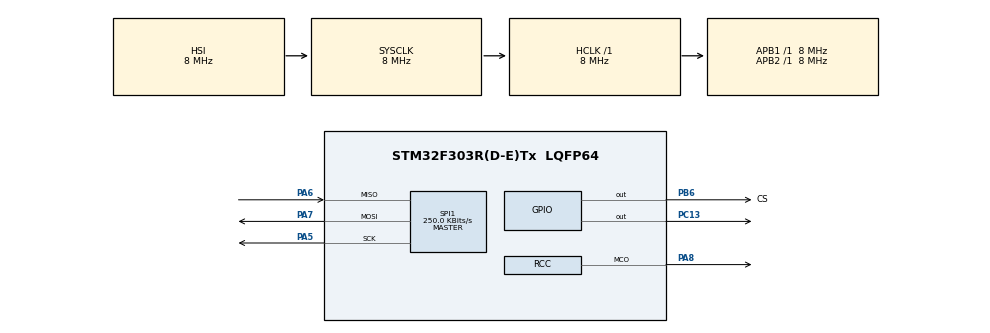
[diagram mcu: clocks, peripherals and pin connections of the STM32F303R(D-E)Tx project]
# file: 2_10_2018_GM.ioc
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Mcu.Family=STM32F3
Mcu.Name=STM32F303R(D-E)Tx
Mcu.Package=LQFP64
NVIC.PriorityGroup=NVIC_PRIORITYGROUP_4
NVIC.SPI1_IRQn=true\:0\:0\:false\:false\:true\:true
PA5.Mode=Full_Duplex_Master
PA5.Signal=SPI1_SCK
PA6.Mode=Full_Duplex_Master
PA6.Signal=SPI1_MISO
PA7.Mode=Full_Duplex_Master
PA7.Signal=SPI1_MOSI
PA8.Mode=Clock-out
PA8.Signal=RCC_MCO
PB6.GPIO_Label=CS
PB6.GPIO_Speed=GPIO_SPEED_FREQ_MEDIUM
PB6.PinState=GPIO_PIN_SET
PB6.Signal=GPIO_Output
PC13.Signal=GPIO_Output
PF0-OSC_IN.Mode=HSE-External-Oscillator
PF0-OSC_IN.Signal=RCC_OSC_IN
PF1-OSC_OUT.Mode=HSE-External-Oscillator
PF1-OSC_OUT.Signal=RCC_OSC_OUT
ProjectManager.HeapSize=0x200
ProjectManager.StackSize=0x400
ProjectManager.TargetToolchain=MDK-ARM V5
RCC.AHBFreq_Value=8000000
RCC.APB1Freq_Value=8000000
RCC.APB2Freq_Value=8000000
RCC.CortexFreq_Value=8000000
RCC.HSE_VALUE=8000000
RCC.HSI_VALUE=8000000
RCC.LSE_VALUE=32768
RCC.SYSCLKFreq_VALUE=8000000
RCC.USBFreq_Value=16000000
SPI1.BaudRatePrescaler=SPI_BAUDRATEPRESCALER_32
SPI1.CalculateBaudRate=250.0 KBits/s
SPI1.DataSize=SPI_DATASIZE_8BIT
SPI1.Direction=SPI_DIRECTION_2LINES
SPI1.Mode=SPI_MODE_MASTER
SPI1.NSSPMode=SPI_NSS_PULSE_DISABLE
SPI1.VirtualType=VM_MASTER
board=2_10_2018_TMTrial

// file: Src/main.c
/**
  ******************************************************************************
  * @file           : main.c
  * @brief          : Main program body
  ******************************************************************************
  ** This notice applies to any and all portions of this file
  * that are not between comment pairs USER CODE BEGIN and
  * USER CODE END. Other portions of this file, whether
  * inserted by the user or by software development tools
  * are owned by their respective copyright owners.
  *
  * COPYRIGHT(c) 2018 STMicroelectronics
  *
  * Redistribution and use in source and binary forms, with or without modification,
  * are permitted provided that the following conditions are met:
  *   1. Redistributions of source code must retain the above copyright notice,
  *      this list of conditions and the following disclaimer.
  *   2. Redistributions in binary form must reproduce the above copyright notice,
  *      this list of conditions and the following disclaimer in the documentation
  *      and/or other materials provided with the distribution.
  *   3. Neither the name of STMicroelectronics nor the names of its contributors
  *      may be used to endorse or promote products derived from this software
  *      without specific prior written permission.
  *
  * THIS SOFTWARE IS PROVIDED BY THE COPYRIGHT HOLDERS AND CONTRIBUTORS "AS IS"
  * AND ANY EXPRESS OR IMPLIED WARRANTIES, INCLUDING, BUT NOT LIMITED TO, THE
  * IMPLIED WARRANTIES OF MERCHANTABILITY AND FITNESS FOR A PARTICULAR PURPOSE ARE
  * DISCLAIMED. IN NO EVENT SHALL THE COPYRIGHT HOLDER OR CONTRIBUTORS BE LIABLE
  * FOR ANY DIRECT, INDIRECT, INCIDENTAL, SPECIAL, EXEMPLARY, OR CONSEQUENTIAL
  * DAMAGES (INCLUDING, BUT NOT LIMITED TO, PROCUREMENT OF SUBSTITUTE GOODS OR
  * SERVICES; LOSS OF USE, DATA, OR PROFITS; OR BUSINESS INTERRUPTION) HOWEVER
  * CAUSED AND ON ANY THEORY OF LIABILITY, WHETHER IN CONTRACT, STRICT LIABILITY,
  * OR TORT (INCLUDING NEGLIGENCE OR OTHERWISE) ARISING IN ANY WAY OUT OF THE USE
  * OF THIS SOFTWARE, EVEN IF ADVISED OF THE POSSIBILITY OF SUCH DAMAGE.
  *
  ******************************************************************************
  */
#include "main.h"
#include "stm32f3xx_hal.h"

/* USER CODE BEGIN Includes */
#include "mfrc522.h"
/* USER CODE END Includes */

SPI_HandleTypeDef hspi1;

/* USER CODE BEGIN PV */

typedef enum{
	MI_OK = 0,
	MI_NOTAGERR,
	MI_ERR} mfrc522_status_t;
/* Private variables ---------------------------------------------------------*/
//The below typedef would be used in a lot of places as status so defined as an enum00
int check1,check2,check3,check4,check5,check6,check7,check8,check9,check10 = 0;
uint8_t cardDetect=0;
/* USER CODE END PV */

void SystemClock_Config(void);
static void MX_GPIO_Init(void);
static void MX_SPI1_Init(void);

/* USER CODE BEGIN PFP */
/* Private function prototypes -----------------------------------------------*/
mfrc522_status_t mfrc522_AntiColl(uint8_t*);
void mfrc522_Halt(void);
void mfrc522_antennaOn(void);
void mfrc522_antennaOff(void);
void mfrc522_Init(void);
mfrc522_status_t mfrc522_check(uint8_t*);

/* USER CODE END PFP */

int main(void)
{

  /* MCU Configuration----------------------------------------------------------*/

  /* Reset of all peripherals, Initializes the Flash interface and the Systick. */
  HAL_Init();

  /* Configure the system clock */
  SystemClock_Config();

  /* Initialize all configured peripherals */
  MX_GPIO_Init();
  MX_SPI1_Init();
  /* USER CODE BEGIN 2 */
	check1=1;
	mfrc522_Init();
	check2=1;
	uint8_t ID[5];    //={0x45,0x26,0x51,0x20,0x00};
	//char buffer[50];

  /* USER CODE END 2 */

  /* Infinite loop */
  while (1)
  {

  /* USER CODE BEGIN 3 */

		check3=1;

	// Check if any card is detected
	if(mfrc522_check(ID) == MI_OK)
	{
		cardDetect = 1;
		//printf("0x0%02x\n0x0%02x\n0x0%02x\n0x0%02x\n0x0%02x",ID[0],ID[1],ID[2],ID[3],ID[4]);
	}
		else{
		cardDetect = 2;
		}

  }
  /* USER CODE END 3 */

}

void SystemClock_Config(void)
{

  RCC_OscInitTypeDef RCC_OscInitStruct;
  RCC_ClkInitTypeDef RCC_ClkInitStruct;

    /**Initializes the CPU, AHB and APB busses clocks
    */
  RCC_OscInitStruct.OscillatorType = RCC_OSCILLATORTYPE_HSI;
  RCC_OscInitStruct.HSIState = RCC_HSI_ON;
  RCC_OscInitStruct.HSICalibrationValue = 16;
  RCC_OscInitStruct.PLL.PLLState = RCC_PLL_NONE;
  if (HAL_RCC_OscConfig(&RCC_OscInitStruct) != HAL_OK)
  {
    _Error_Handler(__FILE__, __LINE__);
  }

    /**Initializes the CPU, AHB and APB busses clocks
    */
  RCC_ClkInitStruct.ClockType = RCC_CLOCKTYPE_HCLK|RCC_CLOCKTYPE_SYSCLK
                              |RCC_CLOCKTYPE_PCLK1|RCC_CLOCKTYPE_PCLK2;
  RCC_ClkInitStruct.SYSCLKSource = RCC_SYSCLKSOURCE_HSI;
  RCC_ClkInitStruct.AHBCLKDivider = RCC_SYSCLK_DIV1;
  RCC_ClkInitStruct.APB1CLKDivider = RCC_HCLK_DIV1;
  RCC_ClkInitStruct.APB2CLKDivider = RCC_HCLK_DIV1;

  if (HAL_RCC_ClockConfig(&RCC_ClkInitStruct, FLASH_LATENCY_0) != HAL_OK)
  {
    _Error_Handler(__FILE__, __LINE__);
  }

  HAL_RCC_MCOConfig(RCC_MCO, RCC_MCO1SOURCE_SYSCLK, RCC_MCODIV_1);

    /**Configure the Systick interrupt time
    */
  HAL_SYSTICK_Config(HAL_RCC_GetHCLKFreq()/1000);

    /**Configure the Systick
    */
  HAL_SYSTICK_CLKSourceConfig(SYSTICK_CLKSOURCE_HCLK);

  /* SysTick_IRQn interrupt configuration */
  HAL_NVIC_SetPriority(SysTick_IRQn, 0, 0);
}

/* SPI1 init function */
static void MX_SPI1_Init(void)
{

  /* SPI1 parameter configuration*/
  hspi1.Instance = SPI1;
  hspi1.Init.Mode = SPI_MODE_MASTER;
  hspi1.Init.Direction = SPI_DIRECTION_2LINES;
  hspi1.Init.DataSize = SPI_DATASIZE_8BIT;
  hspi1.Init.CLKPolarity = SPI_POLARITY_LOW;
  hspi1.Init.CLKPhase = SPI_PHASE_1EDGE;
  hspi1.Init.NSS = SPI_NSS_SOFT;
  hspi1.Init.BaudRatePrescaler = SPI_BAUDRATEPRESCALER_8;
  hspi1.Init.TIMode = SPI_TIMODE_DISABLE;
  hspi1.Init.CRCCalculation = SPI_CRCCALCULATION_DISABLE;
  hspi1.Init.CRCPolynomial = 7;
  hspi1.Init.CRCLength = SPI_CRC_LENGTH_DATASIZE;
  hspi1.Init.NSSPMode = SPI_NSS_PULSE_DISABLE;
  if (HAL_SPI_Init(&hspi1) != HAL_OK)
  {
    _Error_Handler(__FILE__, __LINE__);
  }

}

/** Configure pins as
        * Analog
        * Input
        * Output
        * EVENT_OUT
        * EXTI
     PA8   ------> RCC_MCO
*/
static void MX_GPIO_Init(void)
{

  GPIO_InitTypeDef GPIO_InitStruct;

  /* GPIO Ports Clock Enable */
  __HAL_RCC_GPIOC_CLK_ENABLE();
  __HAL_RCC_GPIOF_CLK_ENABLE();
  __HAL_RCC_GPIOA_CLK_ENABLE();
  __HAL_RCC_GPIOB_CLK_ENABLE();

  /*Configure GPIO pin Output Level */
  HAL_GPIO_WritePin(GPIOC, GPIO_PIN_13, GPIO_PIN_RESET);

  /*Configure GPIO pin Output Level */
  HAL_GPIO_WritePin(CS_GPIO_Port, CS_Pin, GPIO_PIN_SET);

  /*Configure GPIO pin : PC13 */
  GPIO_InitStruct.Pin = GPIO_PIN_13;
  GPIO_InitStruct.Mode = GPIO_MODE_OUTPUT_PP;
  GPIO_InitStruct.Pull = GPIO_NOPULL;
  GPIO_InitStruct.Speed = GPIO_SPEED_FREQ_LOW;
  HAL_GPIO_Init(GPIOC, &GPIO_InitStruct);

  /*Configure GPIO pin : PA8 */
  GPIO_InitStruct.Pin = GPIO_PIN_8;
  GPIO_InitStruct.Mode = GPIO_MODE_AF_PP;
  GPIO_InitStruct.Pull = GPIO_NOPULL;
  GPIO_InitStruct.Speed = GPIO_SPEED_FREQ_LOW;
  GPIO_InitStruct.Alternate = GPIO_AF0_TRACE;
  HAL_GPIO_Init(GPIOA, &GPIO_InitStruct);

  /*Configure GPIO pin : CS_Pin */
  GPIO_InitStruct.Pin = CS_Pin;
  GPIO_InitStruct.Mode = GPIO_MODE_OUTPUT_PP;
  GPIO_InitStruct.Pull = GPIO_NOPULL;
  GPIO_InitStruct.Speed = GPIO_SPEED_FREQ_MEDIUM;
  HAL_GPIO_Init(CS_GPIO_Port, &GPIO_InitStruct);

}

/* USER CODE BEGIN 4 */

void enableChip(void)
{
	HAL_GPIO_WritePin(GPIOB, GPIO_PIN_6, GPIO_PIN_RESET);
}

void disableChip(void)
{
	HAL_GPIO_WritePin(GPIOB, GPIO_PIN_6, GPIO_PIN_SET);
}

void mfrc522_writeRegister(uint8_t addr, uint8_t val)//checked
{
	check8=1;
	enableChip();
	uint8_t tobesent[2];
	tobesent[0]=(addr<<1) & 0x7E;
	tobesent[1] = val;
	HAL_SPI_Transmit(&hspi1, &tobesent[0], sizeof(tobesent[0]), 100);
	HAL_SPI_Transmit(&hspi1, &tobesent[1], sizeof(tobesent[1]),100);

	disableChip();
}

uint8_t mfrc522_readRegister(uint8_t addr)
{
	uint8_t val;
	addr=((addr<<1)&0x7E) | 0x80;
	enableChip();
	HAL_SPI_Transmit(&hspi1,&addr,sizeof(addr),50);
	HAL_SPI_Receive(&hspi1,&val,sizeof(val),50);
	disableChip();
	return val;
}

void mfrc522_SetBitMask(uint8_t reg, uint8_t mask)//checked
{
	mfrc522_writeRegister(reg,mfrc522_readRegister(reg)|mask);

}

void mfrc522_ClearBitMask(uint8_t reg, uint8_t mask) //checked
{
	mfrc522_writeRegister(reg,mfrc522_readRegister(reg)&~mask);
}

void mfrc522_antennaOn(void)//checked
{
	uint8_t temp;
	temp = mfrc522_readRegister(TxControlReg);

	if(!(temp & 0x03))
	{
		mfrc522_SetBitMask(TxControlReg,0x03);
	}
check9=1;
}

void mfrc522_antennaOff(void) //checked
{
	mfrc522_ClearBitMask(TxControlReg,0x03);
}

void mfrc522_reset(void) //checked
{
	mfrc522_writeRegister(CommandReg,SoftReset_CMD);
}

void mfrc522_Init(void)//checked
{
	check5=1;
	mfrc522_reset();
	check6=1;
	mfrc522_writeRegister(TModeReg,0x8D);
	mfrc522_writeRegister(TPrescalerReg,0x3E);
	mfrc522_writeRegister(TReloadReg_2,30);
	mfrc522_writeRegister(TReloadReg_1,0);
	check7=1;
	/* 48dB gain */

	mfrc522_writeRegister(RFCfgReg,0x70);

	mfrc522_writeRegister(TxASKReg,0x40);
	mfrc522_writeRegister(ModeReg, 0x3D);

	mfrc522_antennaOn();
}

mfrc522_status_t mfrc522_toCard(uint8_t command, uint8_t* sendData, uint8_t sendLen, uint8_t* backData, uint16_t* backLen)//checked
{
	mfrc522_status_t status = MI_ERR;
	uint8_t irqEn = 0x00;
	uint8_t waitIRq = 0x00;
	uint8_t lastBits;
	uint8_t n;
	uint16_t i;

	switch(command){
		case(MFAuthent_CMD):
		{
			irqEn = 0x12;
			waitIRq = 0x10;
			break;
		}
		case(Transceive_CMD):
		{
			irqEn = 0x77;
			waitIRq = 0x30;
			break;
		}
		default:
			break;
	}

	mfrc522_writeRegister(ComIEnReg,irqEn | 0x80);
	mfrc522_ClearBitMask(ComIrqReg,0x80);
	mfrc522_SetBitMask(FIFOLevelReg,0x80);

	mfrc522_writeRegister(CommandReg,Idle_CMD);

	//Writing data to the FIFO
	for(i=0;i< sendLen; i++)
	{
		mfrc522_writeRegister(FIFODataReg,sendData[i]);
	}

	//Execute the command
	mfrc522_writeRegister(CommandReg, command);
	if(command == Transceive_CMD)
	{
		mfrc522_SetBitMask(BitFramingReg, 0x80); //StartSend = 1, transmission of data starts
	}

	//Waiting to receive data to complete
	i=2000; //i according to the clock frequency adjustment, the operator MI card maximum waiting time 25ms?
	do
	{
		//CommIrqReq[7..0]
		//Set1 TxIRq RxIRq IdleIRq HiAlerIRq LoAlertIRq ErrIRq TimerIRq
		n = mfrc522_readRegister(ComIrqReg);
		i--;
	}while((i!=0) && !(n&0x01) && !(n & waitIRq));

	mfrc522_ClearBitMask(BitFramingReg, 0x80); //StartSend = 0

	if(i!=0)
  {
		if(!(mfrc522_readRegister(ErrorReg) & 0x1B))
		{
			status = MI_OK;
			if(n & irqEn & 0x01)
			{
				status = MI_NOTAGERR;
			}

			if(command == Transceive_CMD)
			{
				n=mfrc522_readRegister(FIFOLevelReg);
				lastBits = mfrc522_readRegister(ControlReg) & 0x07;
				if(lastBits){
					*backLen = (n-1)*8+lastBits;
				}
				else{
				*backLen = n*8;
				}

				if(n==0){
					n=1;
				}

				if(n>MAX_LEN){
					n = MAX_LEN;
				}

				//Reading the received data in FIFO
				for(i=0;i<n;i++){
					backData[i]=mfrc522_readRegister(FIFODataReg);
				}

			}
		}
			else{
				status = MI_ERR;
		}
	}
	return status;
}

mfrc522_status_t mfrc522_Request(uint8_t reqMode, uint8_t* TagType) //checked
{
	mfrc522_status_t status;
	uint16_t backBits; //The Received Data Bits

	mfrc522_writeRegister(BitFramingReg,0x07);
	TagType[0]=reqMode;
	status = mfrc522_toCard(Transceive_CMD, TagType, 1, TagType, &backBits);

	if((status != MI_OK) || (backBits != 0x10))
	{
		status = MI_ERR;
	}
	else{status = MI_OK;}

	return status;
}

mfrc522_status_t mfrc522_check(uint8_t* id) //checked
{
	mfrc522_status_t status;
	status = mfrc522_Request(PICC_REQIDL,id);
	if(status==MI_OK)//Implies that card is detected
		{
		status = mfrc522_AntiColl(id); //return card serial number 4 bytes
	}
	mfrc522_Halt(); //Command Card into hibernation

	return status;
}

mfrc522_status_t mfrc522_compare(uint8_t* cardID, uint8_t* compareID)
{
	uint8_t i;
	for(i=0;i<5;i++)
	{
		if(cardID[i] != compareID[i])
		{
			return MI_ERR;
		}
	}
	return MI_OK;
}

mfrc522_status_t mfrc522_AntiColl(uint8_t* serNum)//checked
{
	mfrc522_status_t status;
	uint8_t i;
	uint8_t serNumCheck = 0;
	uint16_t unLen;

	mfrc522_writeRegister(BitFramingReg,0x00); // TxLastBits = BitFramingReg[2..0]

	serNum[0] = PICC_ANTICOLL;
	serNum[1] = 0x20;
	status = mfrc522_toCard(Transceive_CMD, serNum, 2, serNum, &unLen);

	if(status == MI_OK){
		// Check Card Serial Number
		for(i=0;i<4;i++){
			serNumCheck ^=serNum[i];
		}

		if(serNumCheck != serNum[i]){
			status = MI_ERR;
		}
	}
	return status;
}

void mfrc522_CalculateCRC(uint8_t* pIndata, uint8_t len, uint8_t* pOutData) //checked
{

	uint8_t i,n;
	mfrc522_ClearBitMask(DivIrqReg,0x04);		//CRCIrq = 0
	mfrc522_SetBitMask(FIFOLevelReg,0x80);   //Clear the FIFO pointer
	// Write into CommandReg the value CMD_IDLE

	//Writing data to the FIFO
	for(i=0;i<len;i++){
		mfrc522_writeRegister(FIFODataReg,*(pIndata+i));
	}
	mfrc522_writeRegister(CommandReg, CalcCRC_CMD);

	//Wait until CRC Calculation is complete
	i=0xFF;

	do{
		n = mfrc522_readRegister(DivIrqReg);
		i--;
	}while((i!=0) && !(n&0x04)); //CRCIrq = 1
	//Read CRC Calculation Result
	pOutData[0] = mfrc522_readRegister(CRCResultReg_2);
	pOutData[1] = mfrc522_readRegister(CRCResultReg_1);
}

uint8_t mfrc522_SelectTag(uint8_t* serNum) //checked
{
	uint8_t i;
	uint8_t buffer[9];
	mfrc522_status_t status;
	uint16_t recvBits;
	uint8_t size;

	buffer[0] = PICC_SElECTTAG;
	buffer[1] = 0x70;
	for(i = 0;i<5;i++){
		buffer[i+2] = *(serNum+i);
	}
	mfrc522_CalculateCRC(buffer,7,&buffer[7]);
	status = mfrc522_toCard(Transceive_CMD, buffer, 9, buffer, &recvBits);
	if((status == MI_OK) && (recvBits == 0x18)){
		size = buffer[0];
}
	else{
		size = 0;
	}

	return size;
}

mfrc522_status_t mfrc522_auth(uint8_t authMode, uint8_t BlockAddr, uint8_t* Sectorkey, uint8_t* serNum) //checed
{
	mfrc522_status_t status;
	uint16_t recvBits;
	uint8_t i;
	uint8_t buff[12];
	//Verify the command block address + sector + password + card serial number
	buff[0] = authMode;
	buff[1] = BlockAddr;

	for(i=0;i<6;i++){
	buff[i+2] = *(Sectorkey+i);
	}

	for(i=0;i<4;i++){
		buff[i+8] = *(serNum+i);
	}
	status = mfrc522_toCard(MFAuthent_CMD, buff, 12, buff, &recvBits);

	if((status!=MI_OK) || (!(mfrc522_readRegister(Status2Reg) & 0x08))){
		status = MI_ERR;
	}

	return status;
}

mfrc522_status_t mfrc522_Read(uint8_t blockAddr, uint8_t* recvData)//checked
{
	mfrc522_status_t status;
	uint16_t unLen;

	recvData[0] = PICC_READ;
	recvData[1] = blockAddr;
	mfrc522_CalculateCRC(recvData,2,&recvData[2]);
	status = mfrc522_toCard(Transceive_CMD,recvData,4,recvData,&unLen);

	if((status!=MI_OK) || (unLen != 0x90)){
		status = MI_ERR;
	}
	return status;
}

mfrc522_status_t mfrc522_Write(uint8_t blockAddr, uint8_t* writeData) //checked
{
	mfrc522_status_t status;
	uint16_t recvBits;
	uint8_t i;
	uint8_t buff[18];

	buff[0] = PICC_WRITE;
	buff[1] = blockAddr;

	mfrc522_CalculateCRC(buff, 2, &buff[2]);
	status = mfrc522_toCard(Transceive_CMD, buff, 4, buff, &recvBits);
	if((status!= MI_OK) || (recvBits!=4) || (buff[0] & 0x0F) != 0x0A){
		status = MI_ERR;
	}
	if(status == MI_OK){
	//Data to the FIFO write 16Byte
		for(i=0; i<16;i++){
			buff[i] = *(writeData+i);
		}
		mfrc522_CalculateCRC(buff, 16, &buff[16]);
		status = mfrc522_toCard(Transceive_CMD,buff, 18, buff, &recvBits);

		if((status!=MI_OK)|| (recvBits!=4) || ((buff[0] & 0x0F) != 0x0A)){
			status = MI_ERR;
		}
}

return status;
}

void mfrc522_Halt(void) //checked
	{
	uint16_t unLen;
	uint8_t buff[4];

	buff[0] = PICC_HALT;
	buff[1] = 0;
	mfrc522_CalculateCRC(buff, 2, &buff[2]);

	mfrc522_toCard(Transceive_CMD, buff, 4, buff, &unLen);
}

/* USER CODE END 4 */

void _Error_Handler(char *file, int line)
{
  while(1)
  {
  }
}

/************************ (C) COPYRIGHT STMicroelectronics *****END OF FILE****/
